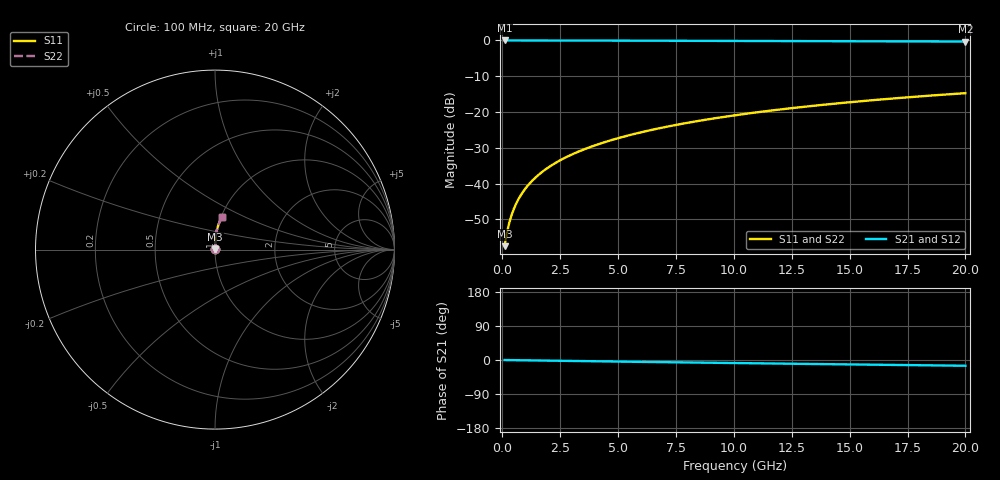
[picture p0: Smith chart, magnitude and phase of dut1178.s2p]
! Touchstone file exported from HFSS 2024.1.0
!  File:  C:/UserFiles/LocalFiles/RDL_TSV_Batchsim/temp_RDL_bottom_1178_1780057159.aedt
!  Generated:  08:21:41 PM May 29, 2026
!  Design:  RDL_bottom
!  Project:  temp_RDL_bottom_1178_1780057159
!  Setup:  Setup1
!  Solution:  Sweep
! Variables:
!  dtsv = 10.80580581um
!  hbump = 3um
!  htsv = 84.55um
!  ldown = 164.51um
!  lrdl = 100um
!  p = 40
!  p1 = 54.31um
!  rhole = 1um
!  t = 450um
!  tdown = 3.64um
!  trdl = 3.915915916um
!  wdown = 20.26um
!  wrdl = 20um
# GHz S MA R 50.000000
! Terminal data exported
! Port[1] = RDL1_T1
! Port[2] = RDL1_T2
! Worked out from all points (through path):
!   200 points, 100 MHz to 20 GHz, reference 50 ohm
!   highest |S21| = -0.01 dB at 100 MHz (marker M1); lowest = -0.3 dB at 20 GHz (marker M2)
!   group delay of S21, straight-line fit = 2.09 ps
!   lowest |S11| = -57.5 dB at 100 MHz (marker M3), VSWR 1.00, Z = 50.1 + j0.0895 ohm
!   |S11| at or under -10 dB: start of sweep to end of sweep
!   |S22| runs from -57.5 to -14.7 dB; largest |S21 - S12| = 4.6e-15
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0.1  0.001336 41.9  0.999 -0.1  0.999 -0.1  0.001336 41.9
! Gamma 0 0 0 0
! Port Impedance 50 0 50 0
0.2  0.002046 59.8  0.999 -0.2  0.999 -0.2  0.002046 59.8
0.3  0.002831 67.9  0.9989 -0.3  0.9989 -0.3  0.002831 67.9
0.4  0.003632 72.4  0.9989 -0.3  0.9989 -0.3  0.003632 72.4
0.5  0.00444 75.4  0.9988 -0.4  0.9988 -0.4  0.00444 75.4
0.6  0.005253 77.5  0.9988 -0.5  0.9988 -0.5  0.005253 77.5
0.8  0.00689 80.3  0.9987 -0.7  0.9987 -0.7  0.00689 80.3
1.1  0.009369 82.9  0.9985 -0.9  0.9985 -0.9  0.009369 82.9
1.5  0.01271 84.7  0.9983 -1.3  0.9983 -1.3  0.01271 84.7
1.8  0.01523 85.6  0.998 -1.5  0.998 -1.5  0.01523 85.6
2.1  0.01777 86.3  0.9978 -1.8  0.9978 -1.8  0.01777 86.3
2.7  0.02289 87.1  0.9971 -2.3  0.9971 -2.3  0.02289 87.1
3.5  0.02981 87.7  0.9961 -3.0  0.9961 -3.0  0.02981 87.7
4.2  0.03595 87.9  0.9951 -3.5  0.9951 -3.5  0.03595 87.9
5  0.04308 88.0  0.9937 -4.2  0.9937 -4.2  0.04308 88.0
5.9  0.05123 87.9  0.9921 -4.9  0.9921 -4.9  0.05123 87.9
6.8  0.0595 87.7  0.9904 -5.6  0.9904 -5.6  0.0595 87.7
8.4  0.07442 86.9  0.9873 -6.8  0.9873 -6.8  0.07442 86.9
10.1  0.09048 85.9  0.9839 -8.1  0.9839 -8.1  0.09048 85.9
13.4  0.1218 83.5  0.9772 -10.5  0.9772 -10.5  0.1218 83.5
16.7  0.1529 81.0  0.9704 -12.9  0.9704 -12.9  0.1529 81.0
20  0.1834 78.3  0.9633 -15.2  0.9633 -15.2  0.1834 78.3
